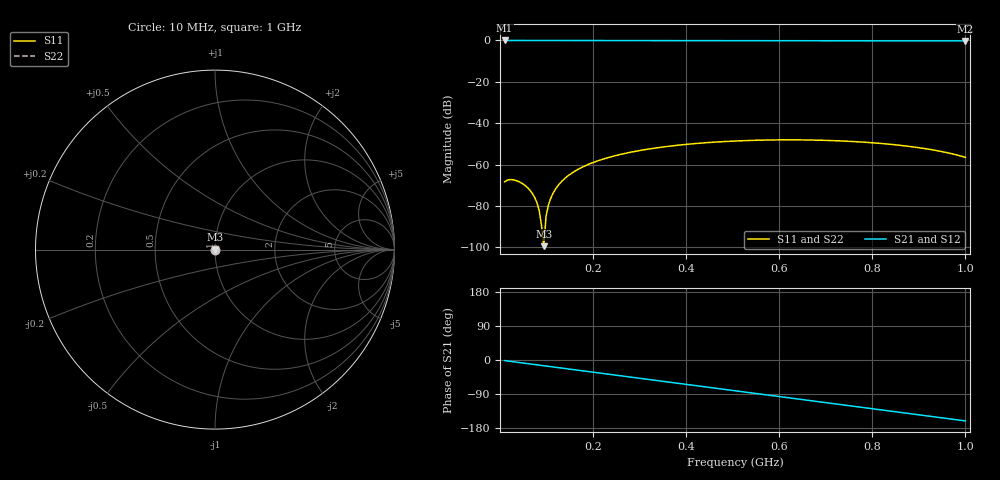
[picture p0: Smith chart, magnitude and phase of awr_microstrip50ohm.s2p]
! AWR Design Environment (17415) Thu Nov  7 11:21:40 2024
! Document = 'Microstrip50ohm'
! nPorts: 2, nXvals: 201
# MHz S DB R 50
!Freq DBS11 AngS11 DBS21 AngS21 DBS12 AngS12 DBS22 AngS22
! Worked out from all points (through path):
!   201 points, 10 MHz to 1 GHz, reference 50 ohm
!   highest |S21| = -0.01 dB at 10 MHz (marker M1); lowest = -0.2 dB at 1 GHz (marker M2)
!   group delay of S21, straight-line fit = 446 ps
!   lowest |S11| = -99.4 dB at 94.15 MHz (marker M3), VSWR 1.00, Z = 50 + j0.000281 ohm
!   |S11| at or under -10 dB: start of sweep to end of sweep
!   |S22| runs from -99.4 to -48.0 dB; largest |S21 - S12| = 1.9e-15
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10  -68.30 -1.6  -0.01 -1.6  -0.01 -1.6  -68.30 -1.6
24.85  -67.23 -4.0  -0.01 -4.0  -0.01 -4.0  -67.23 -4.0
49.6  -69.32 -8.0  -0.02 -8.0  -0.02 -8.0  -69.32 -8.0
59.5  -71.13 -9.6  -0.02 -9.6  -0.02 -9.6  -71.13 -9.6
69.4  -73.83 -11.1  -0.02 -11.2  -0.02 -11.2  -73.83 -11.1
84.25  -82.04 -13.5  -0.03 -13.5  -0.03 -13.5  -82.04 -13.5
94.15  -99.36 164.9  -0.03 -15.1  -0.03 -15.1  -99.36 164.9
104.05  -79.59 163.3  -0.03 -16.7  -0.03 -16.7  -79.59 163.3
113.95  -73.87 161.7  -0.04 -18.3  -0.04 -18.3  -73.87 161.7
123.85  -70.37 160.1  -0.04 -19.9  -0.04 -19.9  -70.37 160.1
133.75  -67.83 158.5  -0.04 -21.5  -0.04 -21.5  -67.83 158.5
153.55  -64.20 155.4  -0.04 -24.7  -0.04 -24.7  -64.20 155.4
178.3  -61.04 151.4  -0.05 -28.7  -0.05 -28.7  -61.04 151.4
247.6  -55.67 140.3  -0.07 -39.8  -0.07 -39.8  -55.67 140.3
341.65  -51.72 125.3  -0.08 -54.9  -0.08 -54.9  -51.72 125.3
425.8  -49.69 111.9  -0.10 -68.4  -0.10 -68.4  -49.69 111.9
505  -48.58 99.3  -0.12 -81.2  -0.12 -81.2  -48.58 99.3
589.15  -48.05 85.9  -0.13 -94.7  -0.13 -94.7  -48.05 85.9
673.3  -48.12 72.6  -0.15 -108.2  -0.15 -108.2  -48.12 72.6
836.65  -50.12 47.2  -0.18 -134.5  -0.18 -134.5  -50.12 47.2
930.7  -52.89 33.2  -0.20 -149.6  -0.20 -149.6  -52.89 33.2
1000  -56.46 23.8  -0.21 -160.7  -0.21 -160.7  -56.46 23.8
